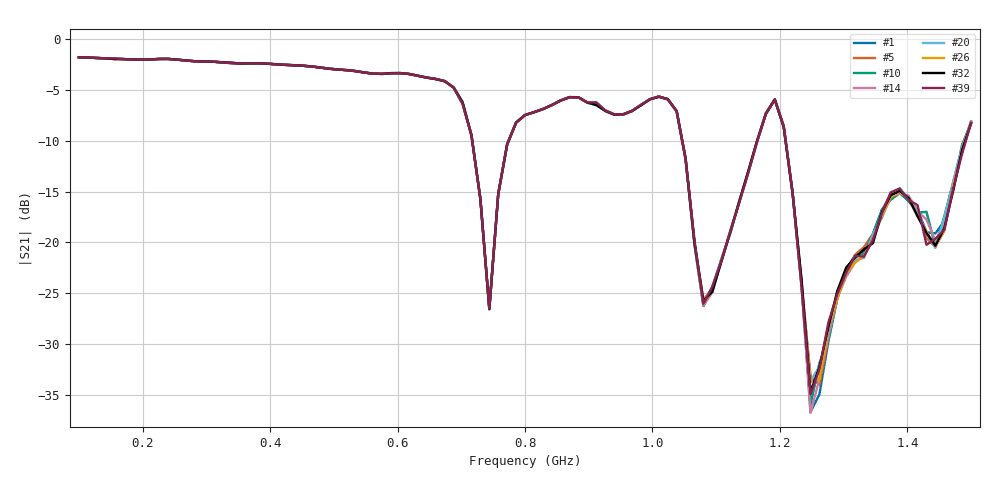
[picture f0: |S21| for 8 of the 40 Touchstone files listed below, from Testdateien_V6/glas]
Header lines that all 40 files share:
! NanoVNA-App
! Start: 100MHz Stop: 1,5GHz Points: 101
! S-Parameter data: F S11 S21 S12 S22
# Hz S RI R 50
!  Frequency  S11_Real  S11_Imag  S21_Real  S21_Imag  S12_Real  S12_Imag  S22_Real  S22_Imag
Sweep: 100 MHz to 1.5 GHz
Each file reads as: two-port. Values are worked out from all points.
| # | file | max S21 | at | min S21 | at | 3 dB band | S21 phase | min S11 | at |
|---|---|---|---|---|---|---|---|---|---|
| 1 | glas (61).s2p | -1.79 dB | 100 MHz | -36.7 dB | 1.248 GHz | 100 MHz-688 MHz | 92 deg at 800 MHz | -39.3 dB | 128 MHz |
| 2 | glas (62).s2p | -1.79 dB | 100 MHz | -34.0 dB | 1.248 GHz | 100 MHz-688 MHz | 92 deg at 800 MHz | -39.3 dB | 128 MHz |
| 3 | glas (63).s2p | -1.79 dB | 100 MHz | -34.5 dB | 1.262 GHz | 100 MHz-688 MHz | 92 deg at 800 MHz | -39.3 dB | 128 MHz |
| 4 | glas (64).s2p | -1.79 dB | 100 MHz | -34.0 dB | 1.248 GHz | 100 MHz-688 MHz | 92 deg at 800 MHz | -39.3 dB | 128 MHz |
| 5 | glas (65).s2p | -1.79 dB | 100 MHz | -34.1 dB | 1.262 GHz | 100 MHz-688 MHz | 92 deg at 800 MHz | -39.3 dB | 128 MHz |
| 6 | glas (66).s2p | -1.79 dB | 100 MHz | -34.1 dB | 1.248 GHz | 100 MHz-688 MHz | 92 deg at 800 MHz | -39.3 dB | 128 MHz |
| 7 | glas (67).s2p | -1.79 dB | 100 MHz | -35.6 dB | 1.248 GHz | 100 MHz-688 MHz | 92 deg at 800 MHz | -39.3 dB | 128 MHz |
| 8 | glas (68).s2p | -1.79 dB | 100 MHz | -34.1 dB | 1.248 GHz | 100 MHz-688 MHz | 92 deg at 800 MHz | -39.3 dB | 128 MHz |
| 9 | glas (69).s2p | -1.79 dB | 100 MHz | -33.5 dB | 1.248 GHz | 100 MHz-688 MHz | 92 deg at 800 MHz | -39.3 dB | 128 MHz |
| 10 | glas (70).s2p | -1.79 dB | 100 MHz | -36.0 dB | 1.248 GHz | 100 MHz-688 MHz | 92 deg at 800 MHz | -39.3 dB | 128 MHz |
| 11 | glas (71).s2p | -1.79 dB | 100 MHz | -33.6 dB | 1.248 GHz | 100 MHz-688 MHz | 92 deg at 800 MHz | -39.3 dB | 128 MHz |
| 12 | glas (72).s2p | -1.79 dB | 100 MHz | -32.4 dB | 1.248 GHz | 100 MHz-688 MHz | 92 deg at 800 MHz | -39.3 dB | 128 MHz |
| 13 | glas (73).s2p | -1.79 dB | 100 MHz | -34.5 dB | 1.248 GHz | 100 MHz-688 MHz | 92 deg at 800 MHz | -39.3 dB | 128 MHz |
| 14 | glas (74).s2p | -1.79 dB | 100 MHz | -36.8 dB | 1.248 GHz | 100 MHz-688 MHz | 92 deg at 800 MHz | -39.3 dB | 128 MHz |
| 15 | glas (75).s2p | -1.79 dB | 100 MHz | -36.7 dB | 1.248 GHz | 100 MHz-688 MHz | 92 deg at 800 MHz | -39.3 dB | 128 MHz |
| 16 | glas (76).s2p | -1.79 dB | 100 MHz | -33.4 dB | 1.248 GHz | 100 MHz-688 MHz | 92 deg at 800 MHz | -39.2 dB | 128 MHz |
| 17 | glas (77).s2p | -1.79 dB | 100 MHz | -35.7 dB | 1.262 GHz | 100 MHz-688 MHz | 92 deg at 800 MHz | -39.3 dB | 128 MHz |
| 18 | glas (78).s2p | -1.79 dB | 100 MHz | -35.5 dB | 1.248 GHz | 100 MHz-688 MHz | 92 deg at 800 MHz | -39.3 dB | 128 MHz |
| 19 | glas (79).s2p | -1.79 dB | 100 MHz | -34.1 dB | 1.248 GHz | 100 MHz-688 MHz | 92 deg at 800 MHz | -39.3 dB | 128 MHz |
| 20 | glas (80).s2p | -1.79 dB | 100 MHz | -33.7 dB | 1.248 GHz | 100 MHz-688 MHz | 92 deg at 800 MHz | -39.2 dB | 128 MHz |
| 21 | glas (81).s2p | -1.79 dB | 100 MHz | -35.5 dB | 1.248 GHz | 100 MHz-688 MHz | 92 deg at 800 MHz | -39.3 dB | 128 MHz |
| 22 | glas (82).s2p | -1.79 dB | 100 MHz | -37.6 dB | 1.248 GHz | 100 MHz-688 MHz | 92 deg at 800 MHz | -39.3 dB | 128 MHz |
| 23 | glas (83).s2p | -1.79 dB | 100 MHz | -36.4 dB | 1.248 GHz | 100 MHz-688 MHz | 92 deg at 800 MHz | -39.3 dB | 128 MHz |
| 24 | glas (84).s2p | -1.79 dB | 100 MHz | -36.3 dB | 1.248 GHz | 100 MHz-688 MHz | 92 deg at 800 MHz | -39.3 dB | 128 MHz |
| 25 | glas (85).s2p | -1.79 dB | 100 MHz | -33.6 dB | 1.248 GHz | 100 MHz-688 MHz | 92 deg at 800 MHz | -39.3 dB | 128 MHz |
| 26 | glas (86).s2p | -1.79 dB | 100 MHz | -33.7 dB | 1.248 GHz | 100 MHz-688 MHz | 92 deg at 800 MHz | -39.3 dB | 128 MHz |
| 27 | glas (87).s2p | -1.79 dB | 100 MHz | -33.5 dB | 1.248 GHz | 100 MHz-688 MHz | 92 deg at 800 MHz | -39.3 dB | 128 MHz |
| 28 | glas (88).s2p | -1.79 dB | 100 MHz | -35.1 dB | 1.248 GHz | 100 MHz-688 MHz | 92 deg at 800 MHz | -39.3 dB | 128 MHz |
| 29 | glas (89).s2p | -1.79 dB | 100 MHz | -33.2 dB | 1.248 GHz | 100 MHz-688 MHz | 92 deg at 800 MHz | -39.3 dB | 128 MHz |
| 30 | glas (90).s2p | -1.79 dB | 100 MHz | -36.9 dB | 1.248 GHz | 100 MHz-688 MHz | 92 deg at 800 MHz | -39.3 dB | 128 MHz |
| 31 | glas (91).s2p | -1.79 dB | 100 MHz | -34.1 dB | 1.248 GHz | 100 MHz-688 MHz | 92 deg at 800 MHz | -39.3 dB | 128 MHz |
| 32 | glas (92).s2p | -1.79 dB | 100 MHz | -34.7 dB | 1.248 GHz | 100 MHz-688 MHz | 92 deg at 800 MHz | -39.3 dB | 128 MHz |
| 33 | glas (93).s2p | -1.79 dB | 100 MHz | -35.1 dB | 1.248 GHz | 100 MHz-688 MHz | 92 deg at 800 MHz | -39.3 dB | 128 MHz |
| 34 | glas (94).s2p | -1.79 dB | 100 MHz | -36.3 dB | 1.248 GHz | 100 MHz-688 MHz | 92 deg at 800 MHz | -39.3 dB | 128 MHz |
| 35 | glas (95).s2p | -1.79 dB | 100 MHz | -35.4 dB | 1.248 GHz | 100 MHz-688 MHz | 92 deg at 800 MHz | -39.3 dB | 128 MHz |
| 36 | glas (96).s2p | -1.79 dB | 100 MHz | -34.9 dB | 1.262 GHz | 100 MHz-688 MHz | 92 deg at 800 MHz | -39.3 dB | 128 MHz |
| 37 | glas (97).s2p | -1.79 dB | 100 MHz | -35.8 dB | 1.248 GHz | 100 MHz-688 MHz | 92 deg at 800 MHz | -39.3 dB | 128 MHz |
| 38 | glas (98).s2p | -1.79 dB | 100 MHz | -35.1 dB | 1.248 GHz | 100 MHz-688 MHz | 92 deg at 800 MHz | -39.3 dB | 128 MHz |
| 39 | glas (99).s2p | -1.79 dB | 100 MHz | -35.0 dB | 1.248 GHz | 100 MHz-688 MHz | 92 deg at 800 MHz | -39.3 dB | 128 MHz |
| 40 | glas (100).s2p | -1.79 dB | 100 MHz | -35.8 dB | 1.248 GHz | 100 MHz-688 MHz | 92 deg at 800 MHz | -39.3 dB | 128 MHz |
